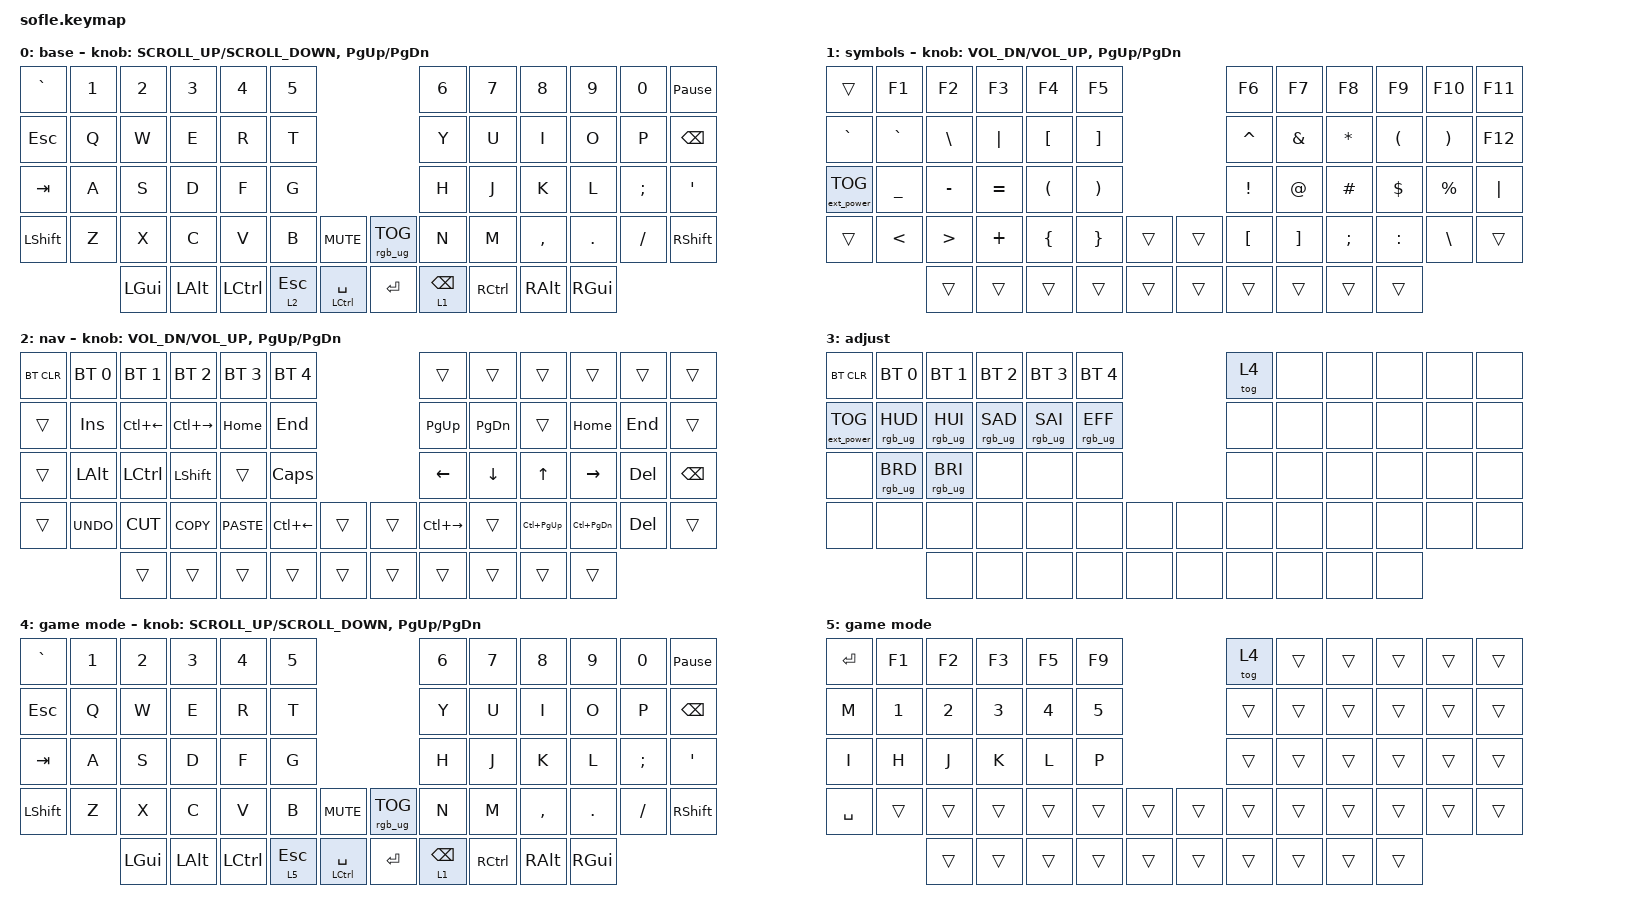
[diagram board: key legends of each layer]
/*
 * Copyright (c) 2020 The ZMK Contributors
 *
 * SPDX-License-Identifier: MIT
 */

#include <behaviors.dtsi>
#include <dt-bindings/zmk/bt.h>
#include <dt-bindings/zmk/ext_power.h>
#include <dt-bindings/zmk/keys.h>
#include <dt-bindings/zmk/rgb.h>

#define BASE 0
#define LOWER 1
#define RAISE 2
#define ADJUST 3

// Thumb hold-taps. Keep this value easy to tune after real-world use.

&mt {
    tapping-term-ms = <200>;
    flavor = "balanced";
    quick-tap-ms = <150>;
    require-prior-idle-ms = <150>;
};

&lt { tapping-term-ms = <200>; };

/ {
    // Activate ADJUST layer by pressing raise and lower

    conditional_layers {
        compatible = "zmk,conditional-layers";

        adjust_layer {
            if-layers = <1 2>;
            then-layer = <3>;
        };
    };

    keymap {
        compatible = "zmk,keymap";

        default_layer {
            // ------------------------------------------------------------------------------------------------------------
            // |   `   |  1  |  2  |  3   |  4   |  5   |                   |  6   |  7    |  8    |  9   |   0   |       |
            // |  ESC  |  Q  |  W  |  E   |  R   |  T   |                   |  Y   |  U    |  I    |  O   |   P   | BKSPC |
            // |  TAB  |  A  |  S  |  D   |  F   |  G   |                   |  H   |  J    |  K    |  L   |   ;   |   '   |
            // | SHIFT |  Z  |  X  |  C   |  V   |  B   |  MUTE  |  |       |  N   |  M    |  ,    |  .   |   /   | SHIFT |
            //               | GUI | ALT  | CTRL | NAV/ESC | SPC/CTRL |  | ENTER | SYM/BSPC | CTRL | ALT | GUI |

            bindings = <
&kp GRAVE  &kp N1  &kp N2    &kp N3    &kp N4     &kp N5                                         &kp N6      &kp N7     &kp N8     &kp N9    &kp N0    &kp PAUSE_BREAK
&kp ESC    &kp Q   &kp W     &kp E     &kp R      &kp T                                          &kp Y       &kp U      &kp I      &kp O     &kp P     &kp BSPC
&kp TAB    &kp A   &kp S     &kp D     &kp F      &kp G                                          &kp H       &kp J      &kp K      &kp L     &kp SEMI  &kp SQT
&kp LSHFT  &kp Z   &kp X     &kp C     &kp V      &kp B      &kp C_MUTE         &rgb_ug RGB_TOG  &kp N       &kp M      &kp COMMA  &kp DOT   &kp FSLH  &kp RSHFT
                   &kp LGUI  &kp LALT  &kp LCTRL  &lt 2 ESC  &mt LCTRL SPACE    &kp RET          &lt 1 BSPC  &kp RCTRL  &kp RALT   &kp RGUI
            >;

            sensor-bindings = <&inc_dec_kp K_SCROLL_UP K_SCROLL_DOWN &inc_dec_kp PG_UP PG_DN>;
            display-name = "base";
        };

        lower_layer {
            // ------------------------------------------------------------------------------------------------------------
            // |       |  F1 |  F2 |  F3  |  F4  |  F5  |                   |  F6  |  F7   |  F8   |  F9  |  F10  |  F11  |
            // |   `   |  `  |  \  |  |   |  [   |  ]   |                   |  ^   |  &    |  *    |  (   |   )   |  F12  |
            // |       |  _  |  -  |  =   |  (   |  )   |                   |  !   |  @    |  #    |  $   |   %   |   |   |
            // |       |  <  |  >  |  +   |  {   |  }   |        |  |       |  [   |  ]    |  ;    |  :   |   \   |       |
            //               |     |      |      |      |        |  |       |      |       |       |      |

            bindings = <
&trans             &kp F1     &kp F2     &kp F3     &kp F4    &kp F5                      &kp F6     &kp F7    &kp F8     &kp F9     &kp F10    &kp F11
&kp GRAVE          &kp GRAVE  &kp BSLH   &kp PIPE   &kp LBKT  &kp RBKT                    &kp CARET  &kp AMPS  &kp ASTRK  &kp LPAR   &kp RPAR   &kp F12
&ext_power EP_TOG  &kp UNDER  &kp MINUS  &kp EQUAL  &kp LPAR  &kp RPAR                    &kp EXCL   &kp AT    &kp HASH   &kp DLLR   &kp PRCNT  &kp PIPE
&trans             &kp LT     &kp GT     &kp PLUS   &kp LBRC  &kp RBRC  &trans    &trans  &kp LBKT   &kp RBKT  &kp SEMI   &kp COLON  &kp BSLH   &trans
                              &trans     &trans     &trans    &trans    &trans    &trans  &trans     &trans    &trans     &trans
            >;

            sensor-bindings = <&inc_dec_kp C_VOL_DN C_VOL_UP &inc_dec_kp PG_UP PG_DN>;
            display-name = "symbols";
        };

        raise_layer {
            // ------------------------------------------------------------------------------------------------------------
            // | BTCLR | BT1  | BT2  |  BT3  |  BT4  |  BT5 |                |      |      |       |      |       |       |
            // |       | INS  | W-LEFT|W-RIGHT| HOME | END  |                | PGUP | PGDN |       | HOME | END   |       |
            // |       | ALT  | CTRL | SHIFT |       | CAPS |                |  <-  |  v   |   ^   |  ->  | DEL   | BKSPC |
            // |       | UNDO | CUT  | COPY  | PASTE |W-LEFT|      |  |      |W-RIGHT|    |TAB-LEFT|TAB-RIGHT|DEL|       |
            //                |      |       |       |      |      |  |      |      |      |       |      |

            bindings = <
&bt BT_CLR  &bt BT_SEL 0  &bt BT_SEL 1  &bt BT_SEL 2   &bt BT_SEL 3  &bt BT_SEL 4                    &trans         &trans     &trans         &trans         &trans   &trans
&trans      &kp INS       &kp LC(LEFT)  &kp LC(RIGHT)  &kp HOME      &kp END                         &kp PG_UP      &kp PG_DN  &trans         &kp HOME       &kp END  &trans
&trans      &kp LALT      &kp LCTRL     &kp LSHFT      &trans        &kp CLCK                        &kp LEFT       &kp DOWN   &kp UP         &kp RIGHT      &kp DEL  &kp BSPC
&trans      &kp K_UNDO    &kp K_CUT     &kp K_COPY     &kp K_PASTE   &kp LC(LEFT)  &trans    &trans  &kp LC(RIGHT)  &trans     &kp LC(PG_UP)  &kp LC(PG_DN)  &kp DEL  &trans
                          &trans        &trans         &trans        &trans        &trans    &trans  &trans         &trans     &trans         &trans
            >;

            sensor-bindings = <&inc_dec_kp C_VOL_DN C_VOL_UP &inc_dec_kp PG_UP PG_DN>;
            display-name = "nav";
        };

        adjust_layer {
            // ----------------------------------------------------------------------------------------------------------------------------
            // | BTCLR  |  BT1    |  BT2    |   BT3   |   BT4   |   BT5   |                  |      |      |       |      |       |       |
            // | EXTPWR | RGB_HUD | RGB_HUI | RGB_SAD | RGB_SAI | RGB_EFF |                  |      |      |       |      |       |       |
            // |        | RGB_BRD | RGB_BRI |         |         |         |                  |      |      |       |      |       |       |
            // |        |         |         |         |         |         | RGB_TOG | |      |      |      |       |      |       |       |
            //                    |         |         |         |         |         | |      |      |      |       |      |

            bindings = <
&bt BT_CLR         &bt BT_SEL 0     &bt BT_SEL 1     &bt BT_SEL 2     &bt BT_SEL 3     &bt BT_SEL 4                     &tog 4  &none  &none  &none  &none  &none
&ext_power EP_TOG  &rgb_ug RGB_HUD  &rgb_ug RGB_HUI  &rgb_ug RGB_SAD  &rgb_ug RGB_SAI  &rgb_ug RGB_EFF                  &none   &none  &none  &none  &none  &none
&none              &rgb_ug RGB_BRD  &rgb_ug RGB_BRI  &none            &none            &none                            &none   &none  &none  &none  &none  &none
&none              &none            &none            &none            &none            &none            &none    &none  &none   &none  &none  &none  &none  &none
                                    &none            &none            &none            &none            &none    &none  &none   &none  &none  &none
            >;

            display-name = "adjust";
        };

        game_layer {
            display-name = "game mode";
            bindings = <
&kp GRAVE  &kp N1  &kp N2    &kp N3    &kp N4     &kp N5                                         &kp N6      &kp N7     &kp N8     &kp N9    &kp N0    &kp PAUSE_BREAK
&kp ESC    &kp Q   &kp W     &kp E     &kp R      &kp T                                          &kp Y       &kp U      &kp I      &kp O     &kp P     &kp BSPC
&kp TAB    &kp A   &kp S     &kp D     &kp F      &kp G                                          &kp H       &kp J      &kp K      &kp L     &kp SEMI  &kp SQT
&kp LSHFT  &kp Z   &kp X     &kp C     &kp V      &kp B      &kp C_MUTE         &rgb_ug RGB_TOG  &kp N       &kp M      &kp COMMA  &kp DOT   &kp FSLH  &kp RSHFT
                   &kp LGUI  &kp LALT  &kp LCTRL  &lt 5 ESC  &mt LCTRL SPACE    &kp RET          &lt 1 BSPC  &kp RCTRL  &kp RALT   &kp RGUI
            >;

            sensor-bindings =
                <&inc_dec_kp K_SCROLL_UP K_SCROLL_DOWN>,
                <&inc_dec_kp PG_UP PG_DN>;
        };

        game_raise_layer {
            bindings = <
&kp ENTER  &kp F1  &kp F2  &kp F3  &kp F5  &kp F9                    &tog 4  &trans  &trans  &trans  &trans  &trans
&kp M      &kp N1  &kp N2  &kp N3  &kp N4  &kp N5                    &trans  &trans  &trans  &trans  &trans  &trans
&kp I      &kp H   &kp J   &kp K   &kp L   &kp P                     &trans  &trans  &trans  &trans  &trans  &trans
&kp SPACE  &trans  &trans  &trans  &trans  &trans  &trans    &trans  &trans  &trans  &trans  &trans  &trans  &trans
                   &trans  &trans  &trans  &trans  &trans    &trans  &trans  &trans  &trans  &trans
            >;

            label = "game mode";
        };
    };
};
